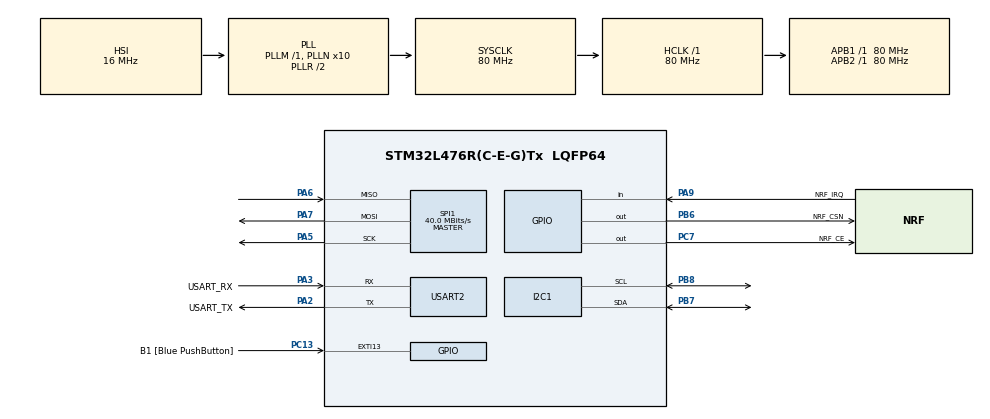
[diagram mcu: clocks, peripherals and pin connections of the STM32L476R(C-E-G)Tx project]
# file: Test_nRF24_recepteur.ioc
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I2C1.Timing=0x10D19CE4
Mcu.Family=STM32L4
Mcu.Name=STM32L476R(C-E-G)Tx
Mcu.Package=LQFP64
NVIC.PriorityGroup=NVIC_PRIORITYGROUP_4
PA13\ (JTMS-SWDIO).GPIO_Label=TMS
PA13\ (JTMS-SWDIO).Mode=Serial_Wire
PA13\ (JTMS-SWDIO).Signal=SYS_JTMS-SWDIO
PA14\ (JTCK-SWCLK).GPIO_Label=TCK
PA14\ (JTCK-SWCLK).Mode=Serial_Wire
PA14\ (JTCK-SWCLK).Signal=SYS_JTCK-SWCLK
PA2.GPIO_Label=USART_TX
PA2.GPIO_Mode=GPIO_MODE_AF_PP
PA2.GPIO_PuPd=GPIO_NOPULL
PA2.GPIO_Speed=GPIO_SPEED_FREQ_VERY_HIGH
PA2.Mode=Asynchronous
PA2.Signal=USART2_TX
PA3.GPIO_Label=USART_RX
PA3.GPIO_Mode=GPIO_MODE_AF_PP
PA3.GPIO_PuPd=GPIO_NOPULL
PA3.GPIO_Speed=GPIO_SPEED_FREQ_VERY_HIGH
PA3.Mode=Asynchronous
PA3.Signal=USART2_RX
PA5.Mode=Full_Duplex_Master
PA5.Signal=SPI1_SCK
PA6.GPIO_PuPd=GPIO_PULLDOWN
PA6.Mode=Full_Duplex_Master
PA6.Signal=SPI1_MISO
PA7.Mode=Full_Duplex_Master
PA7.Signal=SPI1_MOSI
PA9.GPIO_Label=NRF_IRQ
PA9.Signal=GPIO_Input
PB3\ (JTDO-TRACESWO).GPIO_Label=SWO
PB3\ (JTDO-TRACESWO).Signal=SYS_JTDO-SWO
PB6.GPIO_Label=NRF_CSN
PB6.Signal=GPIO_Output
PB7.Mode=I2C
PB7.Signal=I2C1_SDA
PB8.Mode=I2C
PB8.Signal=I2C1_SCL
PC13.GPIO_Label=B1 [Blue PushButton]
PC13.GPIO_ModeDefaultEXTI=GPIO_MODE_IT_FALLING
PC13.GPIO_PuPd=GPIO_NOPULL
PC13.Signal=GPXTI13
PC14-OSC32_IN\ (PC14).Mode=LSE-External-Oscillator
PC14-OSC32_IN\ (PC14).Signal=RCC_OSC32_IN
PC15-OSC32_OUT\ (PC15).Mode=LSE-External-Oscillator
PC15-OSC32_OUT\ (PC15).Signal=RCC_OSC32_OUT
PC7.GPIO_Label=NRF_CE
PC7.Signal=GPIO_Output
PH0-OSC_IN\ (PH0).Signal=RCC_OSC_IN
PH1-OSC_OUT\ (PH1).Signal=RCC_OSC_OUT
ProjectManager.HeapSize=0x200
ProjectManager.StackSize=0x400
ProjectManager.TargetToolchain=STM32CubeIDE
RCC.ADCFreq_Value=64000000
RCC.AHBFreq_Value=80000000
RCC.APB1Freq_Value=80000000
RCC.APB1TimFreq_Value=80000000
RCC.APB2Freq_Value=80000000
RCC.APB2TimFreq_Value=80000000
RCC.CortexFreq_Value=80000000
RCC.HCLKFreq_Value=80000000
RCC.HSE_VALUE=8000000
RCC.HSI_VALUE=16000000
RCC.MSI_VALUE=4000000
RCC.PLLN=10
RCC.PLLSourceVirtual=RCC_PLLSOURCE_HSI
RCC.PREFETCH_ENABLE=1
RCC.SYSCLKFreq_VALUE=80000000
RCC.SYSCLKSource=RCC_SYSCLKSOURCE_PLLCLK
RCC.USBFreq_Value=64000000
RCC.VCOOutputFreq_Value=160000000
SPI1.CalculateBaudRate=40.0 MBits/s
SPI1.Direction=SPI_DIRECTION_2LINES
SPI1.Mode=SPI_MODE_MASTER
SPI1.VirtualType=VM_MASTER
USART2.VirtualMode-Asynchronous=VM_ASYNC
board=NUCLEO-L476RG

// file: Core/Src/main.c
/* USER CODE BEGIN Header */
/**
  ******************************************************************************
  * @file           : main.c
  * @brief          : Main program body
  ******************************************************************************
  * @attention
  *
  * Copyright (c) 2026 STMicroelectronics.
  * All rights reserved.
  *
  * This software is licensed under terms that can be found in the LICENSE file
  * in the root directory of this software component.
  * If no LICENSE file comes with this software, it is provided AS-IS.
  *
  ******************************************************************************
  */
/* USER CODE END Header */
#include "main.h"

I2C_HandleTypeDef hi2c1;

SPI_HandleTypeDef hspi1;

UART_HandleTypeDef huart2;

void SystemClock_Config(void);
static void MX_GPIO_Init(void);
static void MX_USART2_UART_Init(void);
static void MX_SPI1_Init(void);
static void MX_I2C1_Init(void);

/* USER CODE BEGIN 0 */

int __io_putchar(int ch)
{
	HAL_UART_Transmit(&huart2, (uint8_t *)&ch, 1, HAL_MAX_DELAY);
	return ch;
}

int __io_getchar(void)
{
	uint8_t ch = 0;
	__HAL_UART_CLEAR_OREFLAG(&huart2);
	HAL_UART_Receive(&huart2, (uint8_t *)&ch, 1, HAL_MAX_DELAY);
	HAL_UART_Transmit(&huart2, (uint8_t *)&ch, 1, HAL_MAX_DELAY);
	return ch;
}

void NRF24_WriteRegister(uint8_t reg, uint8_t value) {

uint8_t buf[2];

buf[0] = reg | 0x20;

buf[1] = value;

HAL_GPIO_WritePin(NRF_CSN_GPIO_Port, NRF_CSN_Pin, GPIO_PIN_RESET);

HAL_SPI_Transmit(&hspi1, buf, 2, 100);

HAL_GPIO_WritePin(NRF_CSN_GPIO_Port, NRF_CSN_Pin, GPIO_PIN_SET);

}

void NRF24_SendCommand(uint8_t cmd) {

HAL_GPIO_WritePin(NRF_CSN_GPIO_Port, NRF_CSN_Pin, GPIO_PIN_RESET);

HAL_SPI_Transmit(&hspi1, &cmd, 1, 100);

HAL_GPIO_WritePin(NRF_CSN_GPIO_Port, NRF_CSN_Pin, GPIO_PIN_SET);

}

// Fonction spécifique pour lire le message reçu

void NRF24_ReadPayload(uint8_t *data, uint8_t size) {

uint8_t cmd = 0x61; // Commande "R_RX_PAYLOAD"

HAL_GPIO_WritePin(NRF_CSN_GPIO_Port, NRF_CSN_Pin, GPIO_PIN_RESET);

HAL_SPI_Transmit(&hspi1, &cmd, 1, 100);

HAL_SPI_Receive(&hspi1, data, size, 100);

HAL_GPIO_WritePin(NRF_CSN_GPIO_Port, NRF_CSN_Pin, GPIO_PIN_SET);

}
//******************************CODE test accelerometre ***************************
// 1 .FONCTION DE LECTURE DES ACCELERATIONS
#define LSM6DSOX_ADDR 0x6A << 1
void LSM6DSOX_WriteReg(uint8_t reg, uint8_t data)
{
    HAL_I2C_Mem_Write(&hi2c1, LSM6DSOX_ADDR, reg, 1, &data, 1, 100);
}
void LSM6DSOX_ReadRegs(uint8_t reg, uint8_t *buffer, uint8_t len)
{
    HAL_I2C_Mem_Read(&hi2c1, LSM6DSOX_ADDR, reg, 1, buffer, len, 100);
}
void LSM6DSOX_ReadAccel(int16_t *ax, int16_t *ay, int16_t *az)
{
    uint8_t data[6];
    LSM6DSOX_ReadRegs(0x28, data, 6);
    //lsm6ds0x_read_reg(0x28, data, 6);

    *ax = (int16_t)(data[1] << 8 | data[0]);
    *ay = (int16_t)(data[3] << 8 | data[2]);
    *az = (int16_t)(data[5] << 8 | data[4]);
}

/* USER CODE END 0 */

int main(void)
{

  /* MCU Configuration--------------------------------------------------------*/

  /* Reset of all peripherals, Initializes the Flash interface and the Systick. */
  HAL_Init();

  /* Configure the system clock */
  SystemClock_Config();

  /* Initialize all configured peripherals */
  MX_GPIO_Init();
  MX_USART2_UART_Init();
  MX_SPI1_Init();
  MX_I2C1_Init();
  /* USER CODE BEGIN 2 */

//  HAL_GPIO_WritePin(NRF_CE_GPIO_Port, NRF_CE_Pin, GPIO_PIN_RESET);

//  HAL_Delay(10);
  // 2. Initialisation accelerometre
  LSM6DSOX_WriteReg(0x10, 0x40);
  //lsm6ds0x_write_reg(0x10, 0x40);
  int16_t ax, ay, az;
  uint8_t who_am_i;

  HAL_I2C_Mem_Read(&hi2c1, LSM6DSOX_ADDR, 0x0F, 1, &who_am_i, 1, 100);

/*

  // 1. CONFIGURATION RÉCEPTEUR

  NRF24_WriteRegister(0x00, 0x0F); // CONFIG : Power Up, Mode RX (Bit PRIM_RX à 1)

  NRF24_WriteRegister(0x01, 0x01); // EN_AA : Auto-Ack activé sur Pipe 0

  NRF24_WriteRegister(0x11, 5); // RX_PW_P0 : On attend 5 octets (taille de "HELLO")

  // 2. Nettoyage

  NRF24_SendCommand(0xE2); // Flush RX

  NRF24_WriteRegister(0x07, 0x70); // Reset STATUS

  // 3. ACTIVER L'ÉCOUTE

  HAL_GPIO_WritePin(NRF_CE_GPIO_Port, NRF_CE_Pin, GPIO_PIN_SET);

  // En mode RX, CE reste à 1 pour écouter en continu   */
  /* USER CODE END 2 */

  /* Infinite loop */
  /* USER CODE BEGIN WHILE */
/*
  NRF24_WriteRegister(0x00, 0x00); // On éteint
  HAL_Delay(10);
  NRF24_WriteRegister(0x00, 0x0F); // On rallume proprement en mode Récepteur
*/
  while (1)
  {

/*
	  // A. Lire le registre STATUS pour voir si on a reçu quelque chose

	  HAL_GPIO_WritePin(NRF_CSN_GPIO_Port, NRF_CSN_Pin, GPIO_PIN_RESET);

	  uint8_t cmd = 0x07;

	  HAL_SPI_Transmit(&hspi1, &cmd, 1, 10);

	  HAL_SPI_Receive(&hspi1, &status_reg, 1, 10);

	  HAL_GPIO_WritePin(NRF_CSN_GPIO_Port, NRF_CSN_Pin, GPIO_PIN_SET);

	  // B. Vérifier le Bit 6 (RX_DR : Data Ready)

	  if (status_reg & (1 << 6))

	  {

	  // On a reçu un message !

	  NRF24_ReadPayload(rx_data, 5); // Lire les 5 octets

	  // Effacer le drapeau RX_DR pour pouvoir recevoir le prochain message

	  NRF24_WriteRegister(0x07, 0x40);

	  // Optionnel : Envoyer sur le port série pour voir dans la console

	  HAL_UART_Transmit(&huart2, (uint8_t*)"Recu: ", 6, 10);

	  HAL_UART_Transmit(&huart2, rx_data, 5, 10);

	  HAL_UART_Transmit(&huart2, (uint8_t*)"\r\n", 2, 10);

	  }

	  HAL_Delay(100); // On vérifie toutes les 100ms
	  */
	  // CODE ACCELEROMETRE
	  if(who_am_i == 0x6C)
	      {
	          printf("Capteur OK\n");
	      }
	      else
	      {
	          printf("Erreur capteur\n");
	      }

	      HAL_Delay(1000);
	  LSM6DSOX_ReadAccel(&ax, &ay, &az);

	  float ax_g = ax * 0.000061;
	  float ay_g = ay * 0.000061;
	  float az_g = az * 0.000061;

    /* USER CODE END WHILE */

  }
}

void SystemClock_Config(void)
{
  RCC_OscInitTypeDef RCC_OscInitStruct = {0};
  RCC_ClkInitTypeDef RCC_ClkInitStruct = {0};

  /** Configure the main internal regulator output voltage
  */
  if (HAL_PWREx_ControlVoltageScaling(PWR_REGULATOR_VOLTAGE_SCALE1) != HAL_OK)
  {
    Error_Handler();
  }

  /** Initializes the RCC Oscillators according to the specified parameters
  * in the RCC_OscInitTypeDef structure.
  */
  RCC_OscInitStruct.OscillatorType = RCC_OSCILLATORTYPE_HSI;
  RCC_OscInitStruct.HSIState = RCC_HSI_ON;
  RCC_OscInitStruct.HSICalibrationValue = RCC_HSICALIBRATION_DEFAULT;
  RCC_OscInitStruct.PLL.PLLState = RCC_PLL_ON;
  RCC_OscInitStruct.PLL.PLLSource = RCC_PLLSOURCE_HSI;
  RCC_OscInitStruct.PLL.PLLM = 1;
  RCC_OscInitStruct.PLL.PLLN = 10;
  RCC_OscInitStruct.PLL.PLLP = RCC_PLLP_DIV7;
  RCC_OscInitStruct.PLL.PLLQ = RCC_PLLQ_DIV2;
  RCC_OscInitStruct.PLL.PLLR = RCC_PLLR_DIV2;
  if (HAL_RCC_OscConfig(&RCC_OscInitStruct) != HAL_OK)
  {
    Error_Handler();
  }

  /** Initializes the CPU, AHB and APB buses clocks
  */
  RCC_ClkInitStruct.ClockType = RCC_CLOCKTYPE_HCLK|RCC_CLOCKTYPE_SYSCLK
                              |RCC_CLOCKTYPE_PCLK1|RCC_CLOCKTYPE_PCLK2;
  RCC_ClkInitStruct.SYSCLKSource = RCC_SYSCLKSOURCE_PLLCLK;
  RCC_ClkInitStruct.AHBCLKDivider = RCC_SYSCLK_DIV1;
  RCC_ClkInitStruct.APB1CLKDivider = RCC_HCLK_DIV1;
  RCC_ClkInitStruct.APB2CLKDivider = RCC_HCLK_DIV1;

  if (HAL_RCC_ClockConfig(&RCC_ClkInitStruct, FLASH_LATENCY_4) != HAL_OK)
  {
    Error_Handler();
  }
}

static void MX_I2C1_Init(void)
{

  hi2c1.Instance = I2C1;
  hi2c1.Init.Timing = 0x10D19CE4;
  hi2c1.Init.OwnAddress1 = 0;
  hi2c1.Init.AddressingMode = I2C_ADDRESSINGMODE_7BIT;
  hi2c1.Init.DualAddressMode = I2C_DUALADDRESS_DISABLE;
  hi2c1.Init.OwnAddress2 = 0;
  hi2c1.Init.OwnAddress2Masks = I2C_OA2_NOMASK;
  hi2c1.Init.GeneralCallMode = I2C_GENERALCALL_DISABLE;
  hi2c1.Init.NoStretchMode = I2C_NOSTRETCH_DISABLE;
  if (HAL_I2C_Init(&hi2c1) != HAL_OK)
  {
    Error_Handler();
  }

  /** Configure Analogue filter
  */
  if (HAL_I2CEx_ConfigAnalogFilter(&hi2c1, I2C_ANALOGFILTER_ENABLE) != HAL_OK)
  {
    Error_Handler();
  }

  /** Configure Digital filter
  */
  if (HAL_I2CEx_ConfigDigitalFilter(&hi2c1, 0) != HAL_OK)
  {
    Error_Handler();
  }

}

static void MX_SPI1_Init(void)
{

  /* SPI1 parameter configuration*/
  hspi1.Instance = SPI1;
  hspi1.Init.Mode = SPI_MODE_MASTER;
  hspi1.Init.Direction = SPI_DIRECTION_2LINES;
  hspi1.Init.DataSize = SPI_DATASIZE_4BIT;
  hspi1.Init.CLKPolarity = SPI_POLARITY_LOW;
  hspi1.Init.CLKPhase = SPI_PHASE_1EDGE;
  hspi1.Init.NSS = SPI_NSS_SOFT;
  hspi1.Init.BaudRatePrescaler = SPI_BAUDRATEPRESCALER_2;
  hspi1.Init.FirstBit = SPI_FIRSTBIT_MSB;
  hspi1.Init.TIMode = SPI_TIMODE_DISABLE;
  hspi1.Init.CRCCalculation = SPI_CRCCALCULATION_DISABLE;
  hspi1.Init.CRCPolynomial = 7;
  hspi1.Init.CRCLength = SPI_CRC_LENGTH_DATASIZE;
  hspi1.Init.NSSPMode = SPI_NSS_PULSE_ENABLE;
  if (HAL_SPI_Init(&hspi1) != HAL_OK)
  {
    Error_Handler();
  }

}

static void MX_USART2_UART_Init(void)
{

  huart2.Instance = USART2;
  huart2.Init.BaudRate = 115200;
  huart2.Init.WordLength = UART_WORDLENGTH_8B;
  huart2.Init.StopBits = UART_STOPBITS_1;
  huart2.Init.Parity = UART_PARITY_NONE;
  huart2.Init.Mode = UART_MODE_TX_RX;
  huart2.Init.HwFlowCtl = UART_HWCONTROL_NONE;
  huart2.Init.OverSampling = UART_OVERSAMPLING_16;
  huart2.Init.OneBitSampling = UART_ONE_BIT_SAMPLE_DISABLE;
  huart2.AdvancedInit.AdvFeatureInit = UART_ADVFEATURE_NO_INIT;
  if (HAL_UART_Init(&huart2) != HAL_OK)
  {
    Error_Handler();
  }

}

static void MX_GPIO_Init(void)
{
  GPIO_InitTypeDef GPIO_InitStruct = {0};

  /* GPIO Ports Clock Enable */
  __HAL_RCC_GPIOC_CLK_ENABLE();
  __HAL_RCC_GPIOH_CLK_ENABLE();
  __HAL_RCC_GPIOA_CLK_ENABLE();
  __HAL_RCC_GPIOB_CLK_ENABLE();

  /*Configure GPIO pin Output Level */
  HAL_GPIO_WritePin(NRF_CE_GPIO_Port, NRF_CE_Pin, GPIO_PIN_RESET);

  /*Configure GPIO pin Output Level */
  HAL_GPIO_WritePin(NRF_CSN_GPIO_Port, NRF_CSN_Pin, GPIO_PIN_RESET);

  /*Configure GPIO pin : B1_Pin */
  GPIO_InitStruct.Pin = B1_Pin;
  GPIO_InitStruct.Mode = GPIO_MODE_IT_FALLING;
  GPIO_InitStruct.Pull = GPIO_NOPULL;
  HAL_GPIO_Init(B1_GPIO_Port, &GPIO_InitStruct);

  /*Configure GPIO pin : NRF_CE_Pin */
  GPIO_InitStruct.Pin = NRF_CE_Pin;
  GPIO_InitStruct.Mode = GPIO_MODE_OUTPUT_PP;
  GPIO_InitStruct.Pull = GPIO_NOPULL;
  GPIO_InitStruct.Speed = GPIO_SPEED_FREQ_LOW;
  HAL_GPIO_Init(NRF_CE_GPIO_Port, &GPIO_InitStruct);

  /*Configure GPIO pin : NRF_IRQ_Pin */
  GPIO_InitStruct.Pin = NRF_IRQ_Pin;
  GPIO_InitStruct.Mode = GPIO_MODE_INPUT;
  GPIO_InitStruct.Pull = GPIO_NOPULL;
  HAL_GPIO_Init(NRF_IRQ_GPIO_Port, &GPIO_InitStruct);

  /*Configure GPIO pin : NRF_CSN_Pin */
  GPIO_InitStruct.Pin = NRF_CSN_Pin;
  GPIO_InitStruct.Mode = GPIO_MODE_OUTPUT_PP;
  GPIO_InitStruct.Pull = GPIO_NOPULL;
  GPIO_InitStruct.Speed = GPIO_SPEED_FREQ_LOW;
  HAL_GPIO_Init(NRF_CSN_GPIO_Port, &GPIO_InitStruct);

}

void Error_Handler(void)
{
  __disable_irq();
  while (1)
  {
  }
}
